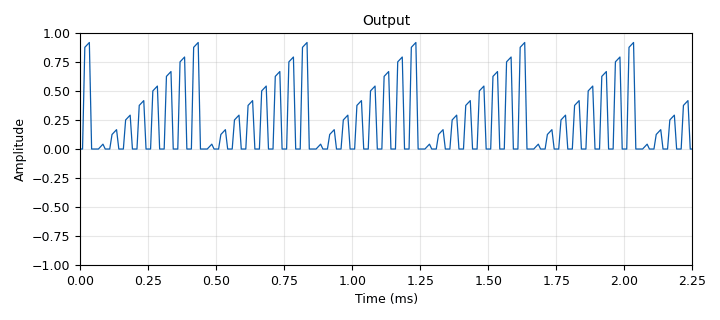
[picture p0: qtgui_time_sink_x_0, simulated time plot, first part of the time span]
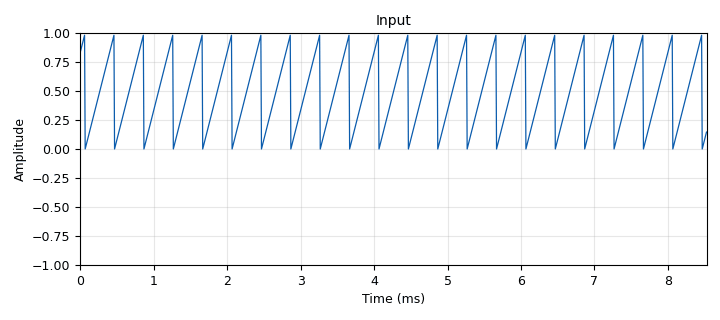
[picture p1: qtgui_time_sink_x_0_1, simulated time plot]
<?xml version='1.0' encoding='utf-8'?>
<?grc format='1' created='3.7.13'?>
<flow_graph>
<block>
<key>options</key>
<param><key>id</key><value>top_block</value></param>
<param><key>generate_options</key><value>qt_gui</value></param>
</block>
<block>
<key>variable_qtgui_chooser</key>
<param><key>id</key><value>chooser</value></param>
<param><key>value</key><value>0</value></param>
<param><key>num_opts</key><value>3</value></param>
<param><key>option0</key><value>0</value></param>
<param><key>option1</key><value>1</value></param>
<param><key>option2</key><value>2</value></param>
<param><key>type</key><value>int</value></param>
</block>
<block>
<key>variable_qtgui_range</key>
<param><key>id</key><value>dutycycle</value></param>
<param><key>value</key><value>dutycycle0</value></param>
<param><key>label</key><value>Duty cycle</value></param>
<param><key>orient</key><value>Qt.Horizontal</value></param>
<param><key>start</key><value>0.05</value></param>
<param><key>step</key><value>0.05</value></param>
<param><key>stop</key><value>0.95</value></param>
</block>
<block>
<key>variable</key>
<param><key>id</key><value>dutycycle0</value></param>
<param><key>value</key><value>0.5</value></param>
</block>
<block>
<key>variable</key>
<param><key>id</key><value>freq0</value></param>
<param><key>value</key><value>2500</value></param>
</block>
<block>
<key>variable_qtgui_range</key>
<param><key>id</key><value>input_freq</value></param>
<param><key>value</key><value>freq0</value></param>
<param><key>label</key><value>Frequency</value></param>
<param><key>orient</key><value>Qt.Horizontal</value></param>
<param><key>start</key><value>freq0/10</value></param>
<param><key>step</key><value>freq0/100</value></param>
<param><key>stop</key><value>freq0*10</value></param>
</block>
<block>
<key>variable</key>
<param><key>id</key><value>samp_rate</value></param>
<param><key>value</key><value>120000</value></param>
</block>
<block>
<key>variable_qtgui_check_box</key>
<param><key>id</key><value>switch_on</value></param>
<param><key>value</key><value>True</value></param>
<param><key>false</key><value>0</value></param>
<param><key>label</key><value>"Llave analogica on"</value></param>
<param><key>true</key><value>1</value></param>
<param><key>type</key><value>real</value></param>
</block>
<block>
<key>variable_qtgui_check_box</key>
<param><key>id</key><value>syh_on</value></param>
<param><key>value</key><value>True</value></param>
<param><key>false</key><value>0</value></param>
<param><key>label</key><value>"Sample and hold on"</value></param>
<param><key>true</key><value>1</value></param>
<param><key>type</key><value>real</value></param>
</block>
<block>
<key>analog_sig_source_x</key>
<param><key>id</key><value>analog_sig_source_x_0</value></param>
<param><key>amp</key><value>1</value></param>
<param><key>freq</key><value>input_freq</value></param>
<param><key>offset</key><value>0</value></param>
<param><key>type</key><value>float</value></param>
<param><key>samp_rate</key><value>samp_rate</value></param>
<param><key>waveform</key><value>analog.GR_SAW_WAVE</value></param>
</block>
<block>
<key>analog_sig_source_x</key>
<param><key>id</key><value>analog_sig_source_x_0_0</value></param>
<param><key>amp</key><value>1</value></param>
<param><key>freq</key><value>100000</value></param>
<param><key>offset</key><value>0</value></param>
<param><key>type</key><value>float</value></param>
<param><key>samp_rate</key><value>samp_rate</value></param>
<param><key>waveform</key><value>analog.GR_SQR_WAVE</value></param>
</block>
<block>
<key>blks2_selector</key>
<param><key>id</key><value>blks2_selector_0</value></param>
<param><key>input_index</key><value>syh_on</value></param>
<param><key>num_inputs</key><value>2</value></param>
<param><key>num_outputs</key><value>1</value></param>
<param><key>output_index</key><value>0</value></param>
<param><key>type</key><value>float</value></param>
<param><key>vlen</key><value>1</value></param>
</block>
<block>
<key>blks2_selector</key>
<param><key>id</key><value>blks2_selector_0_0</value></param>
<param><key>input_index</key><value>switch_on</value></param>
<param><key>num_inputs</key><value>2</value></param>
<param><key>num_outputs</key><value>1</value></param>
<param><key>output_index</key><value>0</value></param>
<param><key>type</key><value>float</value></param>
<param><key>vlen</key><value>1</value></param>
</block>
<block>
<key>blocks_float_to_char</key>
<param><key>id</key><value>blocks_float_to_char_0</value></param>
<param><key>scale</key><value>1</value></param>
</block>
<block>
<key>blocks_multiply_xx</key>
<param><key>id</key><value>blocks_multiply_xx_0</value></param>
<param><key>type</key><value>float</value></param>
</block>
<block>
<key>blocks_sample_and_hold_xx</key>
<param><key>id</key><value>blocks_sample_and_hold_xx_0</value></param>
<param><key>type</key><value>float</value></param>
</block>
<block>
<key>blocks_throttle</key>
<param><key>id</key><value>blocks_throttle_0</value></param>
<param><key>samples_per_second</key><value>samp_rate</value></param>
<param><key>type</key><value>float</value></param>
</block>
<block>
<key>qtgui_time_sink_x</key>
<param><key>id</key><value>qtgui_time_sink_x_0</value></param>
<param><key>color1</key><value>"blue"</value></param>
<param><key>label1</key><value></value></param>
<param><key>name</key><value>"Output"</value></param>
<param><key>size</key><value>1024</value></param>
<param><key>srate</key><value>samp_rate</value></param>
<param><key>type</key><value>float</value></param>
</block>
<block>
<key>qtgui_time_sink_x</key>
<param><key>id</key><value>qtgui_time_sink_x_0_1</value></param>
<param><key>color1</key><value>"blue"</value></param>
<param><key>label1</key><value></value></param>
<param><key>name</key><value>"Input"</value></param>
<param><key>size</key><value>1024</value></param>
<param><key>srate</key><value>samp_rate</value></param>
<param><key>type</key><value>float</value></param>
</block>
<connection><source_block_id>analog_sig_source_x_0</source_block_id><sink_block_id>blocks_throttle_0</sink_block_id><source_key>0</source_key><sink_key>0</sink_key></connection>
<connection><source_block_id>analog_sig_source_x_0</source_block_id><sink_block_id>qtgui_time_sink_x_0_1</sink_block_id><source_key>0</source_key><sink_key>0</sink_key></connection>
<connection><source_block_id>analog_sig_source_x_0_0</source_block_id><sink_block_id>blocks_float_to_char_0</sink_block_id><source_key>0</source_key><sink_key>0</sink_key></connection>
<connection><source_block_id>analog_sig_source_x_0_0</source_block_id><sink_block_id>blocks_multiply_xx_0</sink_block_id><source_key>0</source_key><sink_key>1</sink_key></connection>
<connection><source_block_id>blks2_selector_0</source_block_id><sink_block_id>blks2_selector_0_0</sink_block_id><source_key>0</source_key><sink_key>0</sink_key></connection>
<connection><source_block_id>blks2_selector_0</source_block_id><sink_block_id>blocks_multiply_xx_0</sink_block_id><source_key>0</source_key><sink_key>0</sink_key></connection>
<connection><source_block_id>blks2_selector_0_0</source_block_id><sink_block_id>qtgui_time_sink_x_0</sink_block_id><source_key>0</source_key><sink_key>0</sink_key></connection>
<connection><source_block_id>blocks_float_to_char_0</source_block_id><sink_block_id>blocks_sample_and_hold_xx_0</sink_block_id><source_key>0</source_key><sink_key>1</sink_key></connection>
<connection><source_block_id>blocks_multiply_xx_0</source_block_id><sink_block_id>blks2_selector_0_0</sink_block_id><source_key>0</source_key><sink_key>1</sink_key></connection>
<connection><source_block_id>blocks_sample_and_hold_xx_0</source_block_id><sink_block_id>blks2_selector_0</sink_block_id><source_key>0</source_key><sink_key>1</sink_key></connection>
<connection><source_block_id>blocks_throttle_0</source_block_id><sink_block_id>blks2_selector_0</sink_block_id><source_key>0</source_key><sink_key>0</sink_key></connection>
<connection><source_block_id>blocks_throttle_0</source_block_id><sink_block_id>blocks_sample_and_hold_xx_0</sink_block_id><source_key>0</source_key><sink_key>0</sink_key></connection>
</flow_graph>
